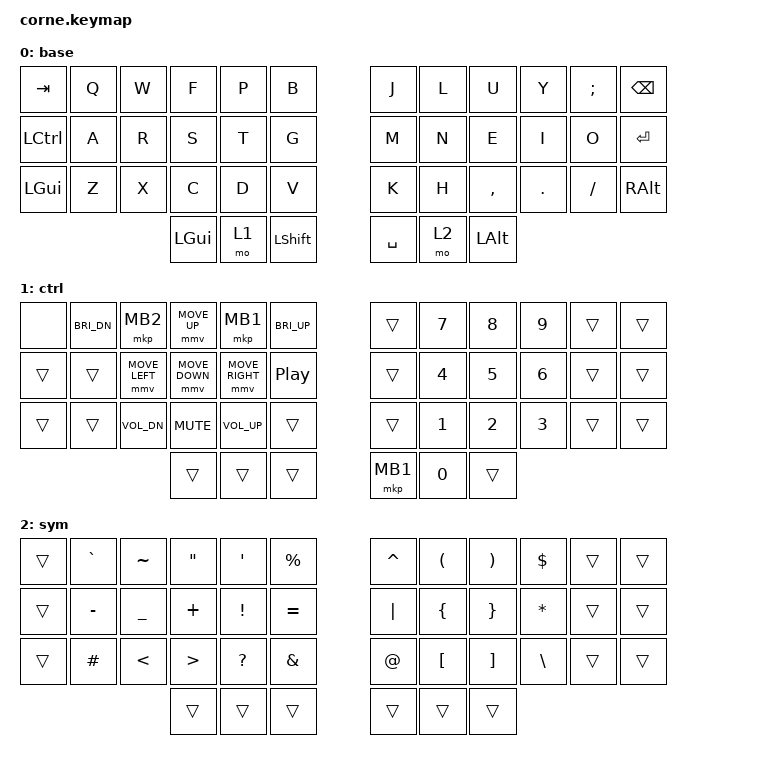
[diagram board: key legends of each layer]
/*
 * Copyright (c) 2020 The ZMK Contributors
 *
 * SPDX-License-Identifier: MIT
 */

#include <behaviors.dtsi>
#include <dt-bindings/zmk/bt.h>
#include <dt-bindings/zmk/keys.h>
#include <dt-bindings/zmk/pointing.h>

/ {
    behaviors {
        HMR: HMR {
            compatible = "zmk,behavior-hold-tap";
            label = "HMR";
            bindings = <&kp>, <&kp>;

            #binding-cells = <2>;
            tapping-term-ms = <200>;
            flavor = "balanced";
            hold-trigger-on-release;
            hold-trigger-key-positions = <0 1 2 3 4 5 17 16 15 14 13 12 24 26 25 27 28 29>;
            require-prior-idle-ms = <100>;
        };

        esc: esc {
            compatible = "zmk,behavior-hold-tap";
            label = "ESC";
            bindings = <&kp>, <&kp>;

            #binding-cells = <2>;
            tapping-term-ms = <150>;
            flavor = "balanced";
            hold-trigger-on-release;
            require-prior-idle-ms = <50>;
            hold-trigger-key-positions = <30 18 6 7 19 31 32 20 8 10 9 21 33 35 22 34 23 11 1 13 25 26 14 2 3 15 27 28 16 4 5 17 29 39>;
        };
    };

    combos {
        compatible = "zmk,combos";

        click {
            bindings = <&kp LC(LS(LG(M)))>;
            key-positions = <32 31 33>;
        };

        scroll {
            bindings = <&kp LS(LA(LC(LG(M))))>;
            key-positions = <27 28 26>;
        };

        bt_clear {
            bindings = <&bt BT_CLR>;
            key-positions = <11 0>;
            layers = <1>;
        };

        bt_nxt {
            bindings = <&bt BT_NXT>;
            key-positions = <11 10>;
            layers = <1>;
        };

        bt_prv {
            bindings = <&bt BT_PRV>;
            key-positions = <23 22>;
            layers = <1>;
        };
    };

    keymap {
        compatible = "zmk,keymap";

        base {
            display-name = "base";
            bindings = <
&kp TAB    &kp Q  &kp W  &kp F     &kp P  &kp B        &kp J      &kp L  &kp U         &kp Y    &kp SEMI  &kp BACKSPACE
&kp LCTRL  &kp A  &kp R  &kp S     &kp T  &kp G        &kp M      &kp N  &kp E         &kp I    &kp O     &kp RET
&kp LGUI   &kp Z  &kp X  &kp C     &kp D  &kp V        &kp K      &kp H  &kp COMMA     &kp DOT  &kp FSLH  &kp RIGHT_ALT
                         &kp LGUI  &mo 1  &kp LSHFT    &kp SPACE  &mo 2  &kp LEFT_ALT
            >;
        };

        ctrl {
            display-name = "ctrl";
            bindings = <
&none   &kp C_BRI_DN  &mkp MB2        &mmv MOVE_UP    &mkp MB1         &kp C_BRI_UP    &trans    &kp N7  &kp N8  &kp N9  &trans  &trans
&trans  &trans        &mmv MOVE_LEFT  &mmv MOVE_DOWN  &mmv MOVE_RIGHT  &kp C_PP        &trans    &kp N4  &kp N5  &kp N6  &trans  &trans
&trans  &trans        &kp C_VOL_DN    &kp C_MUTE      &kp C_VOL_UP     &trans          &trans    &kp N1  &kp N2  &kp N3  &trans  &trans
                                      &trans          &trans           &trans          &mkp MB1  &kp N0  &trans
            >;
        };

        sym {
            display-name = "sym";
            bindings = <
&trans  &kp GRAVE  &kp TILDE  &kp DQT   &kp SQT       &kp PRCNT    &kp CARET  &kp LPAR  &kp RPAR  &kp DLLR  &trans  &trans
&trans  &kp MINUS  &kp UNDER  &kp PLUS  &kp EXCL      &kp EQUAL    &kp PIPE   &kp LBRC  &kp RBRC  &kp STAR  &trans  &trans
&trans  &kp HASH   &kp LT     &kp GT    &kp QUESTION  &kp AMPS     &kp AT     &kp LBKT  &kp RBKT  &kp BSLH  &trans  &trans
                              &trans    &trans        &trans       &trans     &trans    &trans
            >;
        };
    };
};
